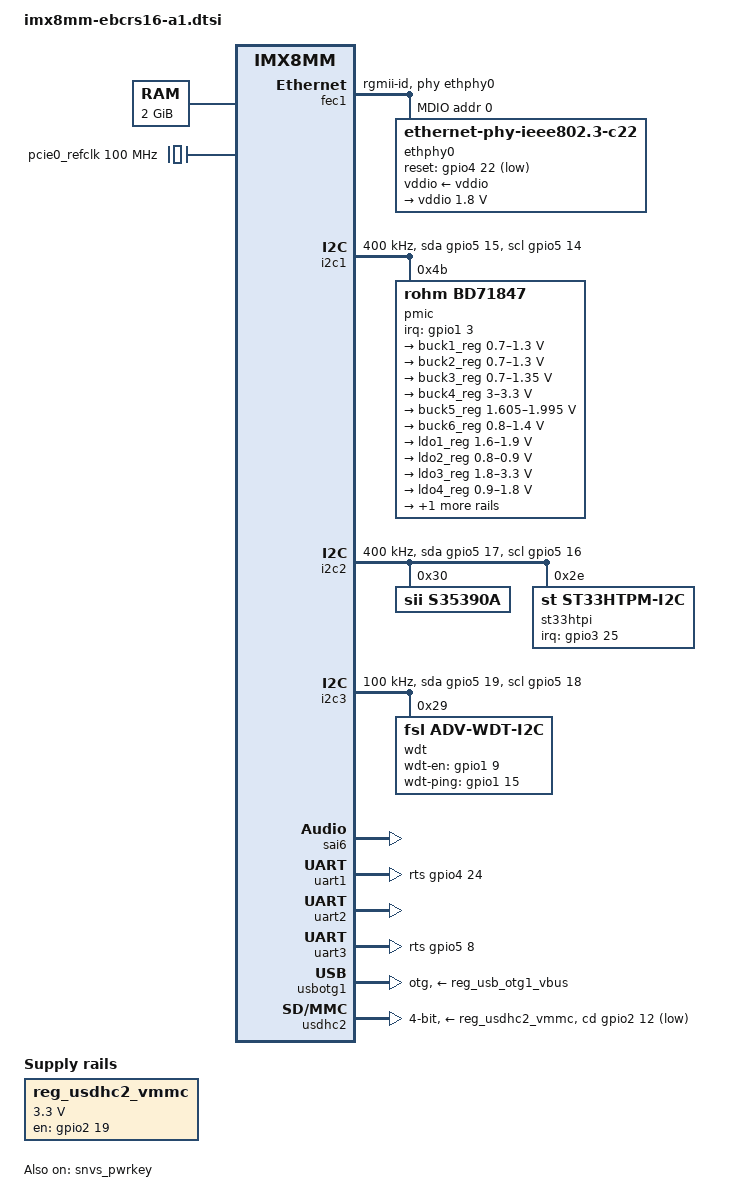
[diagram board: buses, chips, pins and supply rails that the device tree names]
// SPDX-License-Identifier: (GPL-2.0+ OR MIT)
/*
 * Copyright 2020 NXP
 */

/dts-v1/;

#include <dt-bindings/phy/phy-imx8-pcie.h>
#include <dt-bindings/usb/pd.h>
#include "imx8mm.dtsi"

/ {
	chosen {
		stdout-path = &uart2;
	};

	memory@40000000 {
		device_type = "memory";
		reg = <0x0 0x40000000 0 0x80000000>;
	};

	pcie0_refclk: pcie0-refclk {
		compatible = "fixed-clock";
		#clock-cells = <0>;
		clock-frequency = <100000000>;
	};

	reg_usdhc2_vmmc: regulator-usdhc2 {
		compatible = "regulator-fixed";
		pinctrl-names = "default";
		pinctrl-0 = <&pinctrl_reg_usdhc2_vmmc>;
		regulator-name = "VSD_3V3";
		regulator-min-microvolt = <3300000>;
		regulator-max-microvolt = <3300000>;
		gpio = <&gpio2 19 GPIO_ACTIVE_HIGH>;
		off-on-delay-us = <20000>;
		enable-active-high;
	};
};

&A53_0 {
	cpu-supply = <&buck2_reg>;
};

&A53_1 {
	cpu-supply = <&buck2_reg>;
};

&A53_2 {
	cpu-supply = <&buck2_reg>;
};

&A53_3 {
	cpu-supply = <&buck2_reg>;
};

&csi1_bridge {
	status = "disabled";
};

&fec1 {
	pinctrl-names = "default";
	pinctrl-0 = <&pinctrl_fec1>;
	phy-mode = "rgmii-id";
	phy-handle = <&ethphy0>;
	fsl,magic-packet;
	status = "okay";

	mdio {
		#address-cells = <1>;
		#size-cells = <0>;

		ethphy0: ethernet-phy@0 {
			compatible = "ethernet-phy-ieee802.3-c22";
			reg = <0>;
			reset-gpios = <&gpio4 22 GPIO_ACTIVE_LOW>;
			reset-assert-us = <10000>;
			reset-deassert-us = <80000>;
			realtek,aldps-enable;
			realtek,clkout-disable;
			qca,disable-smarteee;
			vddio-supply = <&vddio>;

			vddio: vddio-regulator {
				regulator-min-microvolt = <1800000>;
				regulator-max-microvolt = <1800000>;
			};
		};
	};
};

&i2c1 {
	clock-frequency = <400000>;
	pinctrl-names = "default", "gpio";
	pinctrl-0 = <&pinctrl_i2c1>;
    pinctrl-1 = <&pinctrl_i2c1_gpio>;
    scl-gpios = <&gpio5 14 GPIO_ACTIVE_HIGH>;
    sda-gpios = <&gpio5 15 GPIO_ACTIVE_HIGH>;
	status = "okay";

	pmic@4b {
		compatible = "rohm,bd71847";
		reg = <0x4b>;
		pinctrl-0 = <&pinctrl_pmic>;
		interrupt-parent = <&gpio1>;
		interrupts = <3 GPIO_ACTIVE_LOW>;
		rohm,reset-snvs-powered;

		regulators {
			buck1_reg: BUCK1 {
				regulator-name = "BUCK1";
				regulator-min-microvolt = <700000>;
				regulator-max-microvolt = <1300000>;
				regulator-boot-on;
				regulator-always-on;
				regulator-ramp-delay = <1250>;
			};

			buck2_reg: BUCK2 {
				regulator-name = "BUCK2";
				regulator-min-microvolt = <700000>;
				regulator-max-microvolt = <1300000>;
				regulator-boot-on;
				regulator-always-on;
				regulator-ramp-delay = <1250>;
				rohm,dvs-run-voltage = <1000000>;
				rohm,dvs-idle-voltage = <900000>;
			};

			buck3_reg: BUCK3 {
				// BUCK5 in datasheet
				regulator-name = "BUCK3";
				regulator-min-microvolt = <700000>;
				regulator-max-microvolt = <1350000>;
				regulator-boot-on;
				regulator-always-on;
			};

			buck4_reg: BUCK4 {
				// BUCK6 in datasheet
				regulator-name = "BUCK4";
				regulator-min-microvolt = <3000000>;
				regulator-max-microvolt = <3300000>;
				regulator-boot-on;
				regulator-always-on;
			};

			buck5_reg: BUCK5 {
				// BUCK7 in datasheet
				regulator-name = "BUCK5";
				regulator-min-microvolt = <1605000>;
				regulator-max-microvolt = <1995000>;
				regulator-boot-on;
				regulator-always-on;
			};

			buck6_reg: BUCK6 {
				// BUCK8 in datasheet
				regulator-name = "BUCK6";
				regulator-min-microvolt = <800000>;
				regulator-max-microvolt = <1400000>;
				regulator-boot-on;
				regulator-always-on;
			};

			ldo1_reg: LDO1 {
				regulator-name = "LDO1";
				regulator-min-microvolt = <1600000>;
				regulator-max-microvolt = <1900000>;
				regulator-boot-on;
				regulator-always-on;
			};

			ldo2_reg: LDO2 {
				regulator-name = "LDO2";
				regulator-min-microvolt = <800000>;
				regulator-max-microvolt = <900000>;
				regulator-boot-on;
				regulator-always-on;
			};

			ldo3_reg: LDO3 {
				regulator-name = "LDO3";
				regulator-min-microvolt = <1800000>;
				regulator-max-microvolt = <3300000>;
				regulator-boot-on;
				regulator-always-on;
			};

			ldo4_reg: LDO4 {
				regulator-name = "LDO4";
				regulator-min-microvolt = <900000>;
				regulator-max-microvolt = <1800000>;
				regulator-boot-on;
				regulator-always-on;
			};

			ldo6_reg: LDO6 {
				regulator-name = "LDO6";
				regulator-min-microvolt = <900000>;
				regulator-max-microvolt = <1800000>;
				regulator-boot-on;
				regulator-always-on;
			};
		};
	};
};

&i2c2 {
	clock-frequency = <400000>;
	pinctrl-names = "default", "gpio";
	pinctrl-0 = <&pinctrl_i2c2>;
    pinctrl-1 = <&pinctrl_i2c2_gpio>;
    scl-gpios = <&gpio5 16 GPIO_ACTIVE_HIGH>;
    sda-gpios = <&gpio5 17 GPIO_ACTIVE_HIGH>;
	status = "okay";

	s35390a: s35390a@30 {
		compatible = "sii,s35390a";
		reg = <0x30>;
		status = "okay";
	};

	st33htpi: st33htpi@2e {
		compatible = "st,st33htpm-i2c";
		reg = <0x2e>;
		pinctrl-names = "default";
		pinctrl-0 = <&pinctrl_tpm>;
		interrupt-parent = <&gpio3>;
		interrupts = <25 IRQ_TYPE_LEVEL_HIGH>;
	};
};

&i2c3 {
	clock-frequency = <100000>;
	pinctrl-names = "default", "gpio";
	pinctrl-0 = <&pinctrl_i2c3>;
    pinctrl-1 = <&pinctrl_i2c3_gpio>;
    scl-gpios = <&gpio5 18 GPIO_ACTIVE_HIGH>;
    sda-gpios = <&gpio5 19 GPIO_ACTIVE_HIGH>;
	status = "okay";

	wdt@29 {
        compatible = "fsl,adv-wdt-i2c";
        pinctrl-names = "default";
        pinctrl-0 = <&pinctrl_wdt_en_1 &pinctrl_wdt_ping_1>;
        status = "okay";
        wdt-en = <&gpio1 9 0>;
        wdt-ping = <&gpio1 15 0>;
        reg = <0x29>;
    };
};

&sai6 {
	pinctrl-names = "default";
	pinctrl-0 = <&pinctrl_sai6>;
	assigned-clocks = <&clk IMX8MM_CLK_SAI6>;
	assigned-clock-parents = <&clk IMX8MM_AUDIO_PLL1_OUT>;
	assigned-clock-rates = <24576000>;
	status = "okay";
};

&snvs_pwrkey {
	status = "okay";
};

&uart1 {
	pinctrl-names = "default";
	pinctrl-0 = <&pinctrl_uart1>;
	rts-gpios = <&gpio4 24 GPIO_ACTIVE_HIGH>;
	linux,rs485-enabled-at-boot-time;
	status = "okay";
};

&uart2 { /* A53 console */
	pinctrl-names = "default";
	pinctrl-0 = <&pinctrl_uart2>;
	status = "okay";
};

&uart3 {
	pinctrl-names = "default";
	pinctrl-0 = <&pinctrl_uart3>;
	rts-gpios = <&gpio5 8 GPIO_ACTIVE_HIGH>;
	linux,rs485-enabled-at-boot-time;
	status = "okay";
};

&usbotg1 {
	pinctrl-names = "default";
	pinctrl-0 = <&pinctrl_usbotg>;
	dr_mode = "otg";
	extcon = <0>;
	vbus-supply = <&reg_usb_otg1_vbus>;
	samsung,picophy-pre-emp-curr-control = <3>;
	samsung,picophy-dc-vol-level-adjust = <7>;
	status = "okay";
};

&usdhc2 {
	assigned-clocks = <&clk IMX8MM_CLK_USDHC2>;
	assigned-clock-rates = <200000000>;
	pinctrl-names = "default", "state_100mhz", "state_200mhz";
	pinctrl-0 = <&pinctrl_usdhc2>, <&pinctrl_usdhc2_gpio>;
	pinctrl-1 = <&pinctrl_usdhc2_100mhz>, <&pinctrl_usdhc2_gpio>;
	pinctrl-2 = <&pinctrl_usdhc2_200mhz>, <&pinctrl_usdhc2_gpio>;
	cd-gpios = <&gpio2 12 GPIO_ACTIVE_LOW>;
	// wp-gpios = <&gpio2 20 GPIO_ACTIVE_HIGH>;
	bus-width = <4>;
	vmmc-supply = <&reg_usdhc2_vmmc>;
	status = "okay";
};

&wdog1 {
	pinctrl-names = "default";
	pinctrl-0 = <&pinctrl_wdog>;
	fsl,ext-reset-output;
	status = "disabled";
};

&iomuxc {
	pinctrl_fec1: fec1grp {
		fsl,pins = <
			MX8MM_IOMUXC_ENET_MDC_ENET1_MDC			0x3
			MX8MM_IOMUXC_ENET_MDIO_ENET1_MDIO		0x3
			MX8MM_IOMUXC_ENET_TD3_ENET1_RGMII_TD3		0x1f
			MX8MM_IOMUXC_ENET_TD2_ENET1_RGMII_TD2		0x1f
			MX8MM_IOMUXC_ENET_TD1_ENET1_RGMII_TD1		0x1f
			MX8MM_IOMUXC_ENET_TD0_ENET1_RGMII_TD0		0x1f
			MX8MM_IOMUXC_ENET_RD3_ENET1_RGMII_RD3		0x91
			MX8MM_IOMUXC_ENET_RD2_ENET1_RGMII_RD2		0x91
			MX8MM_IOMUXC_ENET_RD1_ENET1_RGMII_RD1		0x91
			MX8MM_IOMUXC_ENET_RD0_ENET1_RGMII_RD0		0x91
			MX8MM_IOMUXC_ENET_TXC_ENET1_RGMII_TXC		0x1f
			MX8MM_IOMUXC_ENET_RXC_ENET1_RGMII_RXC		0x91
			MX8MM_IOMUXC_ENET_RX_CTL_ENET1_RGMII_RX_CTL	0x91
			MX8MM_IOMUXC_ENET_TX_CTL_ENET1_RGMII_TX_CTL	0x1f
		>;
	};

	pinctrl_i2c1: i2c1grp {
		fsl,pins = <
			MX8MM_IOMUXC_I2C1_SCL_I2C1_SCL			0x400001c3
			MX8MM_IOMUXC_I2C1_SDA_I2C1_SDA			0x400001c3
		>;
	};

	pinctrl_i2c2: i2c2grp {
		fsl,pins = <
			MX8MM_IOMUXC_I2C2_SCL_I2C2_SCL			0x400001c3
			MX8MM_IOMUXC_I2C2_SDA_I2C2_SDA			0x400001c3
		>;
	};

	pinctrl_i2c3: i2c3grp {
		fsl,pins = <
			MX8MM_IOMUXC_I2C3_SCL_I2C3_SCL			0x400001c3
			MX8MM_IOMUXC_I2C3_SDA_I2C3_SDA			0x400001c3
		>;
	};

	pinctrl_pmic: pmicirqgrp {
		fsl,pins = <
			MX8MM_IOMUXC_GPIO1_IO03_GPIO1_IO3		0x141
		>;
	};

	pinctrl_tpm: tpm_grp {
		fsl,pins = <
			MX8MM_IOMUXC_SAI5_MCLK_GPIO3_IO25      0x19    /* TPM_IRQ#_1V8 */
		>;
	};

	pinctrl_uart1: uart1grp {
		fsl,pins = <
			MX8MM_IOMUXC_SAI2_RXFS_UART1_DCE_TX     0x140
			MX8MM_IOMUXC_SAI2_RXC_UART1_DCE_RX     0x140
			MX8MM_IOMUXC_SAI2_TXFS_GPIO4_IO24  0x140
		>;
	};

	pinctrl_uart2: uart2grp {
		fsl,pins = <
			MX8MM_IOMUXC_SAI3_TXC_UART2_DCE_TX		0x140
			MX8MM_IOMUXC_SAI3_TXFS_UART2_DCE_RX		0x140
		>;
	};

	pinctrl_uart3: uart3grp {
		fsl,pins = <
			MX8MM_IOMUXC_UART3_RXD_UART3_DCE_RX		0x140
			MX8MM_IOMUXC_UART3_TXD_UART3_DCE_TX		0x140
			MX8MM_IOMUXC_ECSPI1_MISO_GPIO5_IO8	0x140
		>;
	};

	pinctrl_usdhc1_gpio: usdhc1grpgpio {
		fsl,pins = <
			MX8MM_IOMUXC_SD1_DATA4_GPIO2_IO6		0x41	/*SD1_INT*/
			MX8MM_IOMUXC_SD1_DATA5_GPIO2_IO7		0x41	/*WLAN_RST*/

			MX8MM_IOMUXC_SAI1_TXFS_GPIO4_IO10		0x41	/*WLAN_WAKE_IN*/
			MX8MM_IOMUXC_SAI1_TXC_GPIO4_IO11		0x41	/*WLAN_WAKE_OUT*/

			MX8MM_IOMUXC_SD1_DATA6_GPIO2_IO8		0x41	/*15.4_RST*/
			MX8MM_IOMUXC_SD1_DATA7_GPIO2_IO9		0x41	/*BT_RST*/
			MX8MM_IOMUXC_SD1_RESET_B_GPIO2_IO10		0x41	/*BT/15.4_RST*/
			MX8MM_IOMUXC_SD1_STROBE_GPIO2_IO11		0x41	/*BT/15.4_WAKE_OUT*/
			MX8MM_IOMUXC_SAI1_MCLK_GPIO4_IO20		0x41	/*BT/15.4_WAKE_IN*/

			MX8MM_IOMUXC_ECSPI2_SCLK_GPIO5_IO10		0x41/* W_WC-2_OUT */
			MX8MM_IOMUXC_ECSPI2_MOSI_GPIO5_IO11		0x41/* W_WC-2_IN */
		>;
	};

	pinctrl_usdhc1: usdhc1grp {
		fsl,pins = <
			MX8MM_IOMUXC_SD1_CLK_USDHC1_CLK		0x190
			MX8MM_IOMUXC_SD1_CMD_USDHC1_CMD		0x1d0
			MX8MM_IOMUXC_SD1_DATA0_USDHC1_DATA0	0x1d0
			MX8MM_IOMUXC_SD1_DATA1_USDHC1_DATA1	0x1d0
			MX8MM_IOMUXC_SD1_DATA2_USDHC1_DATA2	0x1d0
			MX8MM_IOMUXC_SD1_DATA3_USDHC1_DATA3	0x1d0
		>;
	};

	pinctrl_usdhc1_100mhz: usdhc1grp100mhz {
		fsl,pins = <
			MX8MM_IOMUXC_SD1_CLK_USDHC1_CLK		0x194
			MX8MM_IOMUXC_SD1_CMD_USDHC1_CMD		0x1d4
			MX8MM_IOMUXC_SD1_DATA0_USDHC1_DATA0	0x1d4
			MX8MM_IOMUXC_SD1_DATA1_USDHC1_DATA1	0x1d4
			MX8MM_IOMUXC_SD1_DATA2_USDHC1_DATA2	0x1d4
			MX8MM_IOMUXC_SD1_DATA3_USDHC1_DATA3	0x1d4
		>;
	};

	pinctrl_usdhc1_200mhz: usdhc1grp200mhz {
		fsl,pins = <
			MX8MM_IOMUXC_SD1_CLK_USDHC1_CLK		0x196
			MX8MM_IOMUXC_SD1_CMD_USDHC1_CMD		0x1d6
			MX8MM_IOMUXC_SD1_DATA0_USDHC1_DATA0	0x1d6
			MX8MM_IOMUXC_SD1_DATA1_USDHC1_DATA1	0x1d6
			MX8MM_IOMUXC_SD1_DATA2_USDHC1_DATA2	0x1d6
			MX8MM_IOMUXC_SD1_DATA3_USDHC1_DATA3	0x1d6
		>;
	};

	pinctrl_reg_usdhc2_vmmc: regusdhc2vmmcgrp {
		fsl,pins = <
			MX8MM_IOMUXC_SD2_RESET_B_GPIO2_IO19	0x41	/* SD2_PWR_EN_1V8 */
		>;
	};

	pinctrl_usdhc2_gpio: usdhc2grpgpiogrp {
		fsl,pins = <
			MX8MM_IOMUXC_SD2_CD_B_GPIO2_IO12	0x159	/* SD2_CD */
			MX8MM_IOMUXC_SD2_WP_GPIO2_IO20		0x159	/* SD2_WP */
		>;
	};

	pinctrl_usdhc2: usdhc2grp {
		fsl,pins = <
			MX8MM_IOMUXC_SD2_CLK_USDHC2_CLK		0x190
			MX8MM_IOMUXC_SD2_CMD_USDHC2_CMD		0x1d0
			MX8MM_IOMUXC_SD2_DATA0_USDHC2_DATA0	0x1d0
			MX8MM_IOMUXC_SD2_DATA1_USDHC2_DATA1	0x1d0
			MX8MM_IOMUXC_SD2_DATA2_USDHC2_DATA2	0x1d0
			MX8MM_IOMUXC_SD2_DATA3_USDHC2_DATA3	0x1d0
			MX8MM_IOMUXC_GPIO1_IO04_USDHC2_VSELECT	0x1d0
		>;
	};

	pinctrl_usdhc2_100mhz: usdhc2-100mhzgrp {
		fsl,pins = <
			MX8MM_IOMUXC_SD2_CLK_USDHC2_CLK		0x194
			MX8MM_IOMUXC_SD2_CMD_USDHC2_CMD		0x1d4
			MX8MM_IOMUXC_SD2_DATA0_USDHC2_DATA0	0x1d4
			MX8MM_IOMUXC_SD2_DATA1_USDHC2_DATA1	0x1d4
			MX8MM_IOMUXC_SD2_DATA2_USDHC2_DATA2	0x1d4
			MX8MM_IOMUXC_SD2_DATA3_USDHC2_DATA3	0x1d4
			MX8MM_IOMUXC_GPIO1_IO04_USDHC2_VSELECT	0x1d0
		>;
	};

	pinctrl_usdhc2_200mhz: usdhc2-200mhzgrp {
		fsl,pins = <
			MX8MM_IOMUXC_SD2_CLK_USDHC2_CLK		0x196
			MX8MM_IOMUXC_SD2_CMD_USDHC2_CMD		0x1d6
			MX8MM_IOMUXC_SD2_DATA0_USDHC2_DATA0	0x1d6
			MX8MM_IOMUXC_SD2_DATA1_USDHC2_DATA1	0x1d6
			MX8MM_IOMUXC_SD2_DATA2_USDHC2_DATA2	0x1d6
			MX8MM_IOMUXC_SD2_DATA3_USDHC2_DATA3	0x1d6
			MX8MM_IOMUXC_GPIO1_IO04_USDHC2_VSELECT	0x1d0
		>;
	};

	pinctrl_wdog: wdoggrp {
		fsl,pins = <
			MX8MM_IOMUXC_GPIO1_IO02_WDOG1_WDOG_B	0x166
		>;
	};
};
